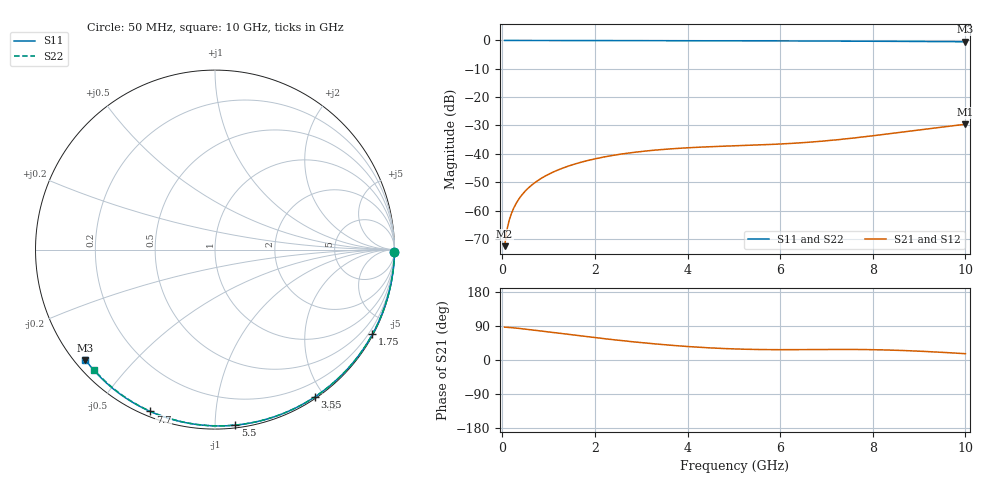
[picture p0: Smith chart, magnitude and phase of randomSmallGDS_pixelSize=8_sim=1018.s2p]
! freq	dB(S11)	phase(S11)	dB(S12)	phase(S12)
!  dB(S21)	phase(S21)	dB(S22)	phase(S22)
!S-par simulation data
#  GHz  S  DB  R 50
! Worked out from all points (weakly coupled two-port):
!   200 points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, 50 MHz to 10 GHz, reference 50 ohm
!   highest |S21| = -29.57 dB at 10 GHz (marker M1); lowest = -72.6 dB at 50 MHz (marker M2)
!   lowest |S11| = -0.5 dB at 10 GHz (marker M3), VSWR 37.49, Z = 1.51 - j18.4 ohm
!   |S11| at or under -10 dB: nowhere
!   |S22| runs from -0.4 to 0.0 dB; largest |S21 - S12| = 0
!   S11 on the Smith chart (normalised r, x): 50 MHz: open; 1.75 GHz: 0.03, -3.97; 3.55 GHz: 0.02, -1.89; 5.5 GHz: 0.02, -1.12; 7.7 GHz: 0.02, -0.68; 10 GHz: 0.03, -0.37
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0.05  -0.00 -0.8  -72.57 86.7  -72.57 86.7  -0.00 -0.8
0.1  -0.00 -1.6  -66.80 86.1  -66.80 86.1  -0.00 -1.6
0.15  -0.00 -2.5  -63.38 85.8  -63.38 85.8  -0.00 -2.4
0.2  -0.00 -3.3  -60.93 85.4  -60.93 85.4  -0.00 -3.2
0.25  -0.00 -4.1  -59.02 84.8  -59.02 84.8  -0.00 -4.0
0.35  -0.00 -5.7  -56.13 83.6  -56.13 83.6  -0.00 -5.6
0.5  -0.01 -8.2  -53.07 81.4  -53.07 81.4  -0.01 -7.9
0.7  -0.01 -11.4  -50.20 78.4  -50.20 78.4  -0.01 -11.1
1  -0.02 -16.3  -47.20 73.9  -47.20 73.9  -0.02 -15.8
1.35  -0.03 -21.9  -44.76 68.6  -44.76 68.6  -0.03 -21.2
1.75  -0.04 -28.2  -42.75 62.6  -42.75 62.6  -0.03 -27.4
2.5  -0.05 -40.0  -40.26 52.2  -40.26 52.2  -0.05 -38.7
3.4  -0.07 -53.6  -38.54 41.4  -38.54 41.4  -0.07 -52.0
3.55  -0.08 -55.8  -38.35 39.8  -38.35 39.8  -0.07 -54.1
4.3  -0.09 -66.7  -37.62 33.2  -37.62 33.2  -0.09 -64.7
5.05  -0.12 -77.3  -37.15 29.0  -37.15 29.0  -0.11 -74.9
5.5  -0.13 -83.4  -36.88 27.7  -36.88 27.7  -0.13 -80.9
6.7  -0.19 -99.2  -35.81 27.6  -35.81 27.6  -0.18 -96.2
7.7  -0.25 -111.8  -34.21 27.7  -34.21 27.7  -0.24 -108.4
8.35  -0.30 -119.8  -32.92 26.3  -32.92 26.3  -0.29 -116.0
9.2  -0.38 -130.0  -31.17 22.1  -31.17 22.1  -0.37 -125.9
10  -0.46 -139.6  -29.57 16.6  -29.57 16.6  -0.45 -135.0
